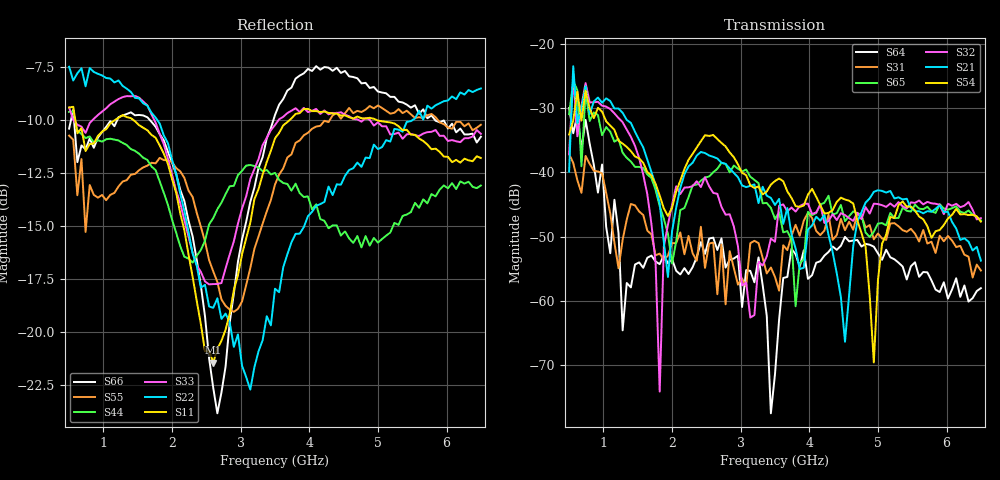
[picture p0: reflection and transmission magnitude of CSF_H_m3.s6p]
!Keysight Technologies,M9804A,MY58100912,A.14.10.03
!Date: Thursday, April 27, 2023 10:28:33
!Correction: S11(C  6-Port  )
!S12(C  6-Port  )
!S13(C  6-Port  )
!S14(C  6-Port  )
!S15(C  6-Port  )
!S16(C  6-Port  )
!S21(C  6-Port  )
!S22(C  6-Port  )
!S23(C  6-Port  )
!S24(C  6-Port  )
!S25(C  6-Port  )
!S26(C  6-Port  )
!S31(C  6-Port  )
!S32(C  6-Port  )
!S33(C  6-Port  )
!S34(C  6-Port  )
!S35(C  6-Port  )
!S36(C  6-Port  )
!S41(C  6-Port  )
!S42(C  6-Port  )
!S43(C  6-Port  )
!S44(C  6-Port  )
!S45(C  6-Port  )
!S46(C  6-Port  )
!S51(C  6-Port  )
!S52(C  6-Port  )
!S53(C  6-Port  )
!S54(C  6-Port  )
!S55(C  6-Port  )
!S56(C  6-Port  )
!S61(C  6-Port  )
!S62(C  6-Port  )
!S63(C  6-Port  )
!S64(C  6-Port  )
!S65(C  6-Port  )
!S66(C  6-Port  )
!S6P File: Measurement: :
# Hz S  RI  R 50
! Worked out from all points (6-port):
!   101 points, 500 MHz to 6.5 GHz, reference 50 ohm
!   strongest paths, dB at 500 MHz, 2 GHz, 3.5 GHz, 5 GHz, 6.5 GHz:
!     S54: -34.1, -45.5, -41.4, -56.8, -47.7
!     S21: -39.9, -49.2, -45.1, -42.8, -53.8
!     S32: -37.2, -45.1, -50.8, -44.9, -47.1
!     S65: -31.0, -54.2, -47.3, -48.0, -47.5
!     S31: -37.2, -51.0, -56.3, -49.5, -55.3
!     S64: -30.0, -53.5, -71.4, -52.6, -58.0
!   lowest |S11| = -21.4 dB at 2.6 GHz (marker M1), VSWR 1.19, Z = 42.5 + j2.2 ohm
!   |S11| at or under -10 dB: 589.7 MHz to 1.171 GHz (580.9 MHz wide, 66 % of centre); 1.435 GHz to 3.715 GHz (2.28 GHz wide, 88.5 % of centre); 4.98 GHz to end of sweep
